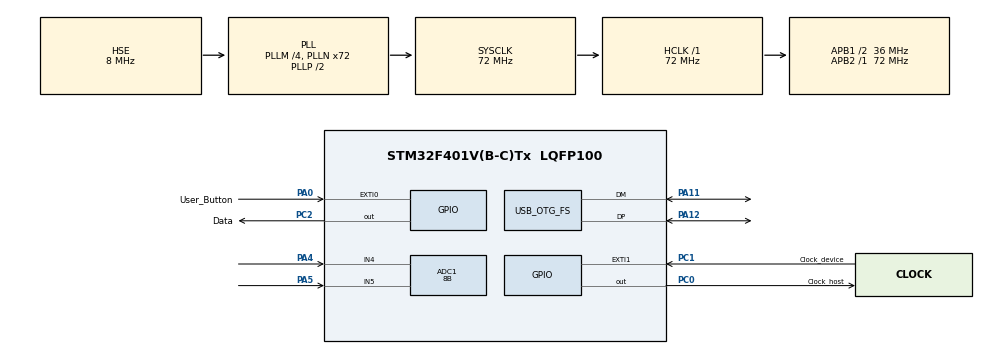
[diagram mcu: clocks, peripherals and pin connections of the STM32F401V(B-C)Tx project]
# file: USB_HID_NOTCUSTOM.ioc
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ADC1.Channel-4\#ChannelRegularConversion=ADC_CHANNEL_4
ADC1.Channel-5\#ChannelRegularConversion=ADC_CHANNEL_5
ADC1.ClockPrescaler=ADC_CLOCK_SYNC_PCLK_DIV8
ADC1.ContinuousConvMode=ENABLE
ADC1.NbrOfConversion=2
ADC1.NbrOfConversionFlag=1
ADC1.Rank-4\#ChannelRegularConversion=1
ADC1.Rank-5\#ChannelRegularConversion=2
ADC1.Resolution=ADC_RESOLUTION_8B
ADC1.SamplingTime-4\#ChannelRegularConversion=ADC_SAMPLETIME_480CYCLES
ADC1.SamplingTime-5\#ChannelRegularConversion=ADC_SAMPLETIME_480CYCLES
ADC1.ScanConvMode=ENABLE
ADC1.master=1
Mcu.Family=STM32F4
Mcu.Name=STM32F401V(B-C)Tx
Mcu.Package=LQFP100
NVIC.ADC_IRQn=true\:0\:0\:false\:false\:true\:true
NVIC.EXTI0_IRQn=true\:0\:0\:false\:false\:true\:true
NVIC.EXTI1_IRQn=true\:0\:0\:false\:false\:true\:true
NVIC.OTG_FS_IRQn=true\:1\:0\:true\:false\:true\:false
NVIC.PriorityGroup=NVIC_PRIORITYGROUP_4
NVIC.TIM1_TRG_COM_TIM11_IRQn=true\:0\:0\:false\:false\:true\:true
NVIC.TIM1_UP_TIM10_IRQn=true\:0\:0\:false\:false\:true\:true
PA0-WKUP.GPIO_Label=User_Button
PA0-WKUP.Signal=GPXTI0
PA11.Mode=Device_Only
PA11.Signal=USB_OTG_FS_DM
PA12.Mode=Device_Only
PA12.Signal=USB_OTG_FS_DP
PA4.Signal=ADCx_IN4
PA5.Signal=ADCx_IN5
PC0.GPIO_Label=Clock_host
PC0.GPIO_ModeDefaultOutputPP=GPIO_MODE_OUTPUT_OD
PC0.GPIO_PuPd=GPIO_PULLUP
PC0.GPIO_Speed=GPIO_SPEED_FREQ_HIGH
PC0.PinState=GPIO_PIN_SET
PC0.Signal=GPIO_Output
PC1.GPIO_Label=Clock_device
PC1.GPIO_ModeDefaultEXTI=GPIO_MODE_IT_RISING_FALLING
PC1.GPIO_PuPd=GPIO_PULLUP
PC1.Signal=GPXTI1
PC2.GPIO_Label=Data
PC2.GPIO_ModeDefaultOutputPP=GPIO_MODE_OUTPUT_OD
PC2.GPIO_PuPd=GPIO_PULLUP
PC2.GPIO_Speed=GPIO_SPEED_FREQ_HIGH
PC2.PinState=GPIO_PIN_SET
PC2.Signal=GPIO_Output
PH0\ -\ OSC_IN.Mode=HSE-External-Oscillator
PH0\ -\ OSC_IN.Signal=RCC_OSC_IN
PH1\ -\ OSC_OUT.Mode=HSE-External-Oscillator
PH1\ -\ OSC_OUT.Signal=RCC_OSC_OUT
ProjectManager.HeapSize=0x200
ProjectManager.StackSize=0x400
ProjectManager.TargetToolchain=SW4STM32
RCC.48MHZClocksFreq_Value=48000000
RCC.AHBFreq_Value=72000000
RCC.APB1CLKDivider=RCC_HCLK_DIV2
RCC.APB1Freq_Value=36000000
RCC.APB1TimFreq_Value=72000000
RCC.APB2Freq_Value=72000000
RCC.APB2TimFreq_Value=72000000
RCC.CortexFreq_Value=72000000
RCC.HCLKFreq_Value=72000000
RCC.HSE_VALUE=8000000
RCC.HSI_VALUE=16000000
RCC.LSE_VALUE=32768
RCC.PLLM=4
RCC.PLLN=72
RCC.PLLQ=3
RCC.SYSCLKFreq_VALUE=72000000
RCC.SYSCLKSource=RCC_SYSCLKSOURCE_PLLCLK
RCC.VCOOutputFreq_Value=144000000
SH.ADCx_IN4.0=ADC1_IN4,IN4
SH.ADCx_IN5.0=ADC1_IN5,IN5
TIM10.Period=99
TIM10.Prescaler=143
TIM11.Period=9999
TIM11.Prescaler=143
USB_DEVICE.CLASS_NAME_FS=HID
USB_DEVICE.VirtualMode=Hid
USB_DEVICE.VirtualModeFS=Hid_FS
USB_OTG_FS.VirtualMode=Device_Only
VP_TIM10_VS_ClockSourceINT.Mode=Enable_Timer
VP_TIM11_VS_ClockSourceINT.Mode=Enable_Timer
VP_USB_DEVICE_VS_USB_DEVICE_HID_FS.Mode=HID_FS
board=USB_HID_NOTCUSTOM

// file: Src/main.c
/**
  ******************************************************************************
  * @file           : main.c
  * @brief          : Main program body
  ******************************************************************************
  * This notice applies to any and all portions of this file
  * that are not between comment pairs USER CODE BEGIN and
  * USER CODE END. Other portions of this file, whether
  * inserted by the user or by software development tools
  * are owned by their respective copyright owners.
  *
  * Copyright (c) 2018 STMicroelectronics International N.V.
  * All rights reserved.
  *
  * Redistribution and use in source and binary forms, with or without
  * modification, are permitted, provided that the following conditions are met:
  *
  * 1. Redistribution of source code must retain the above copyright notice,
  *    this list of conditions and the following disclaimer.
  * 2. Redistributions in binary form must reproduce the above copyright notice,
  *    this list of conditions and the following disclaimer in the documentation
  *    and/or other materials provided with the distribution.
  * 3. Neither the name of STMicroelectronics nor the names of other
  *    contributors to this software may be used to endorse or promote products
  *    derived from this software without specific written permission.
  * 4. This software, including modifications and/or derivative works of this
  *    software, must execute solely and exclusively on microcontroller or
  *    microprocessor devices manufactured by or for STMicroelectronics.
  * 5. Redistribution and use of this software other than as permitted under
  *    this license is void and will automatically terminate your rights under
  *    this license.
  *
  * THIS SOFTWARE IS PROVIDED BY STMICROELECTRONICS AND CONTRIBUTORS "AS IS"
  * AND ANY EXPRESS, IMPLIED OR STATUTORY WARRANTIES, INCLUDING, BUT NOT
  * LIMITED TO, THE IMPLIED WARRANTIES OF MERCHANTABILITY, FITNESS FOR A
  * PARTICULAR PURPOSE AND NON-INFRINGEMENT OF THIRD PARTY INTELLECTUAL PROPERTY
  * RIGHTS ARE DISCLAIMED TO THE FULLEST EXTENT PERMITTED BY LAW. IN NO EVENT
  * SHALL STMICROELECTRONICS OR CONTRIBUTORS BE LIABLE FOR ANY DIRECT, INDIRECT,
  * INCIDENTAL, SPECIAL, EXEMPLARY, OR CONSEQUENTIAL DAMAGES (INCLUDING, BUT NOT
  * LIMITED TO, PROCUREMENT OF SUBSTITUTE GOODS OR SERVICES; LOSS OF USE, DATA,
  * OR PROFITS; OR BUSINESS INTERRUPTION) HOWEVER CAUSED AND ON ANY THEORY OF
  * LIABILITY, WHETHER IN CONTRACT, STRICT LIABILITY, OR TORT (INCLUDING
  * NEGLIGENCE OR OTHERWISE) ARISING IN ANY WAY OUT OF THE USE OF THIS SOFTWARE,
  * EVEN IF ADVISED OF THE POSSIBILITY OF SUCH DAMAGE.
  *
  ******************************************************************************
  */
#include "main.h"
#include "stm32f4xx_hal.h"
#include "usb_device.h"

/* USER CODE BEGIN Includes */
#include <stdbool.h>
/* USER CODE END Includes */

ADC_HandleTypeDef hadc1;

TIM_HandleTypeDef htim10;
TIM_HandleTypeDef htim11;

/* USER CODE BEGIN PV */
/* Private variables ---------------------------------------------------------*/
//typedef int bool;
//enum { false, true };

int bitnumber;

bool Sending = false;
bool Reciving = false;
int LastRecived = 0;
int LastProcessed = 51;
bool Sended = false;
bool StreamMode = false;
bool first = true;
int bytesCount = 3;
int intellimouseState = 0;
uint8_t dataSendPacket;
uint8_t dataRecivedPacket;
bool isSendingWaiting = false;
bool preSendingState = false;
uint8_t Recived = 0;

uint8_t AllRecived[51];
uint8_t AllSended[51];
uint8_t isDataReady;
uint8_t ParityTable[51];
uint32_t start;
uint32_t diff;
uint32_t end;
uint16_t adc[2];
int channel = 0;
uint8_t OutBuffer[10];

/* USER CODE END PV */

void SystemClock_Config(void);
static void MX_GPIO_Init(void);
static void MX_TIM10_Init(void);
static void MX_TIM11_Init(void);
static void MX_ADC1_Init(void);

/* USER CODE BEGIN PFP */
/* Private function prototypes -----------------------------------------------*/
void readBit();
void checkParity();
void HAL_GPIO_EXTI_Callback(uint16_t GPIO_Pin);
void PS2_Handle_Reciving();
void PS2_Handle_Sending();
void setNextDataBit(uint32_t bitnumber);
void setParityBit();
int calculateCount(uint8_t data);
void SendPackage(uint8_t *data);
void Handle_Recived();
int8_t setBit(int i);
uint8_t setButtons();
void HAL_ADC_ConvCpltCallback(ADC_HandleTypeDef* hadc);
void saveKeySettings();
void readDataFromFlash();

struct mouseHID_t {
		  uint8_t reportId;
	      uint8_t buttons;
	      int8_t x;
	      int8_t y;
	      int8_t wheel;
	  };
struct keyboardHID_t{
	 uint8_t report_id;
	    uint8_t modifier;
	    uint8_t reserved;
	    uint8_t keycode[10];
};

struct keycodesHID_t{
	 uint8_t report_id;
	 uint8_t keycode[10];
};

struct keysMapHID_t{
	uint8_t report_id;
	uint8_t keys [10];
};
struct mouseHID_t mouseHID;
struct keyboardHID_t keyboardHID;
struct keysMapHID_t keyMapsHid;

/* USER CODE END PFP */

int main(void)
{
  /* USER CODE BEGIN 1 */

	  bitnumber = 0;

  /* USER CODE END 1 */

  /* MCU Configuration----------------------------------------------------------*/

  /* Reset of all peripherals, Initializes the Flash interface and the Systick. */
  HAL_Init();

  /* Configure the system clock */
  SystemClock_Config();

  /* Initialize all configured peripherals */
  MX_GPIO_Init();
  MX_USB_DEVICE_Init();
  MX_TIM10_Init();
  MX_TIM11_Init();
  MX_ADC1_Init();
  /* USER CODE BEGIN 2 */
  //HAL_GPIO_WritePin(Clock_device_GPIO_Port,Clock_device_Pin,1);
  readDataFromFlash();
  HAL_TIM_Base_Start_IT(&htim11);
  HAL_ADC_Start_IT(&hadc1);
  keyboardHID.report_id = 0x01;
  mouseHID.reportId = 0x02;
  keyMapsHid.report_id = 0x03;
  isDataReady = 0;

  //saveKeySettings();
  /* USER CODE END 2 */

  /* Infinite loop */
  /* USER CODE BEGIN WHILE */
  while (1)
  {

	  if(isDataReady == 1){
		  if(OutBuffer[0] == 0xff){
				USBD_HID_SendReport(&hUsbDeviceFS, &keyMapsHid, sizeof(struct keysMapHID_t));

		  }else{
			  for(int i = 0; i<10; i++){
				  keyMapsHid.keys[i] = OutBuffer[i];
			  }
			  //keyMapsHid.keys = OutBuffer;

			  saveKeySettings();
		  }
		  isDataReady = 0;

	  }

  /* USER CODE END WHILE */

  /* USER CODE BEGIN 3 */

	     //USBD_HID_SendReport(&hUsbDeviceFS, &mouseHID, sizeof(struct mouseHID_t));

  }
  /* USER CODE END 3 */

}

void SystemClock_Config(void)
{

  RCC_OscInitTypeDef RCC_OscInitStruct;
  RCC_ClkInitTypeDef RCC_ClkInitStruct;

    /**Configure the main internal regulator output voltage
    */
  __HAL_RCC_PWR_CLK_ENABLE();

  __HAL_PWR_VOLTAGESCALING_CONFIG(PWR_REGULATOR_VOLTAGE_SCALE2);

    /**Initializes the CPU, AHB and APB busses clocks
    */
  RCC_OscInitStruct.OscillatorType = RCC_OSCILLATORTYPE_HSE;
  RCC_OscInitStruct.HSEState = RCC_HSE_ON;
  RCC_OscInitStruct.PLL.PLLState = RCC_PLL_ON;
  RCC_OscInitStruct.PLL.PLLSource = RCC_PLLSOURCE_HSE;
  RCC_OscInitStruct.PLL.PLLM = 4;
  RCC_OscInitStruct.PLL.PLLN = 72;
  RCC_OscInitStruct.PLL.PLLP = RCC_PLLP_DIV2;
  RCC_OscInitStruct.PLL.PLLQ = 3;
  if (HAL_RCC_OscConfig(&RCC_OscInitStruct) != HAL_OK)
  {
    _Error_Handler(__FILE__, __LINE__);
  }

    /**Initializes the CPU, AHB and APB busses clocks
    */
  RCC_ClkInitStruct.ClockType = RCC_CLOCKTYPE_HCLK|RCC_CLOCKTYPE_SYSCLK
                              |RCC_CLOCKTYPE_PCLK1|RCC_CLOCKTYPE_PCLK2;
  RCC_ClkInitStruct.SYSCLKSource = RCC_SYSCLKSOURCE_PLLCLK;
  RCC_ClkInitStruct.AHBCLKDivider = RCC_SYSCLK_DIV1;
  RCC_ClkInitStruct.APB1CLKDivider = RCC_HCLK_DIV2;
  RCC_ClkInitStruct.APB2CLKDivider = RCC_HCLK_DIV1;

  if (HAL_RCC_ClockConfig(&RCC_ClkInitStruct, FLASH_LATENCY_2) != HAL_OK)
  {
    _Error_Handler(__FILE__, __LINE__);
  }

    /**Configure the Systick interrupt time
    */
  HAL_SYSTICK_Config(HAL_RCC_GetHCLKFreq()/1000);

    /**Configure the Systick
    */
  HAL_SYSTICK_CLKSourceConfig(SYSTICK_CLKSOURCE_HCLK);

  /* SysTick_IRQn interrupt configuration */
  HAL_NVIC_SetPriority(SysTick_IRQn, 0, 0);
}

/* ADC1 init function */
static void MX_ADC1_Init(void)
{

  ADC_ChannelConfTypeDef sConfig;

    /**Configure the global features of the ADC (Clock, Resolution, Data Alignment and number of conversion)
    */
  hadc1.Instance = ADC1;
  hadc1.Init.ClockPrescaler = ADC_CLOCK_SYNC_PCLK_DIV8;
  hadc1.Init.Resolution = ADC_RESOLUTION_8B;
  hadc1.Init.ScanConvMode = ENABLE;
  hadc1.Init.ContinuousConvMode = ENABLE;
  hadc1.Init.DiscontinuousConvMode = DISABLE;
  hadc1.Init.ExternalTrigConvEdge = ADC_EXTERNALTRIGCONVEDGE_NONE;
  hadc1.Init.ExternalTrigConv = ADC_SOFTWARE_START;
  hadc1.Init.DataAlign = ADC_DATAALIGN_RIGHT;
  hadc1.Init.NbrOfConversion = 2;
  hadc1.Init.DMAContinuousRequests = DISABLE;
  hadc1.Init.EOCSelection = ADC_EOC_SINGLE_CONV;
  if (HAL_ADC_Init(&hadc1) != HAL_OK)
  {
    _Error_Handler(__FILE__, __LINE__);
  }

    /**Configure for the selected ADC regular channel its corresponding rank in the sequencer and its sample time.
    */
  sConfig.Channel = ADC_CHANNEL_4;
  sConfig.Rank = 1;
  sConfig.SamplingTime = ADC_SAMPLETIME_480CYCLES;
  if (HAL_ADC_ConfigChannel(&hadc1, &sConfig) != HAL_OK)
  {
    _Error_Handler(__FILE__, __LINE__);
  }

    /**Configure for the selected ADC regular channel its corresponding rank in the sequencer and its sample time.
    */
  sConfig.Channel = ADC_CHANNEL_5;
  sConfig.Rank = 2;
  if (HAL_ADC_ConfigChannel(&hadc1, &sConfig) != HAL_OK)
  {
    _Error_Handler(__FILE__, __LINE__);
  }

}

/* TIM10 init function */
static void MX_TIM10_Init(void)
{

  htim10.Instance = TIM10;
  htim10.Init.Prescaler = 143;
  htim10.Init.CounterMode = TIM_COUNTERMODE_UP;
  htim10.Init.Period = 99;
  htim10.Init.ClockDivision = TIM_CLOCKDIVISION_DIV1;
  if (HAL_TIM_Base_Init(&htim10) != HAL_OK)
  {
    _Error_Handler(__FILE__, __LINE__);
  }

}

/* TIM11 init function */
static void MX_TIM11_Init(void)
{

  htim11.Instance = TIM11;
  htim11.Init.Prescaler = 143;
  htim11.Init.CounterMode = TIM_COUNTERMODE_UP;
  htim11.Init.Period = 9999;
  htim11.Init.ClockDivision = TIM_CLOCKDIVISION_DIV1;
  if (HAL_TIM_Base_Init(&htim11) != HAL_OK)
  {
    _Error_Handler(__FILE__, __LINE__);
  }

}

/** Configure pins as
        * Analog
        * Input
        * Output
        * EVENT_OUT
        * EXTI
*/
static void MX_GPIO_Init(void)
{

  GPIO_InitTypeDef GPIO_InitStruct;

  /* GPIO Ports Clock Enable */
  __HAL_RCC_GPIOH_CLK_ENABLE();
  __HAL_RCC_GPIOC_CLK_ENABLE();
  __HAL_RCC_GPIOA_CLK_ENABLE();

  /*Configure GPIO pin Output Level */
  HAL_GPIO_WritePin(GPIOC, Clock_host_Pin|Data_Pin, GPIO_PIN_SET);

  /*Configure GPIO pins : Clock_host_Pin Data_Pin */
  GPIO_InitStruct.Pin = Clock_host_Pin|Data_Pin;
  GPIO_InitStruct.Mode = GPIO_MODE_OUTPUT_OD;
  GPIO_InitStruct.Pull = GPIO_PULLUP;
  GPIO_InitStruct.Speed = GPIO_SPEED_FREQ_HIGH;
  HAL_GPIO_Init(GPIOC, &GPIO_InitStruct);

  /*Configure GPIO pin : Clock_device_Pin */
  GPIO_InitStruct.Pin = Clock_device_Pin;
  GPIO_InitStruct.Mode = GPIO_MODE_IT_RISING_FALLING;
  GPIO_InitStruct.Pull = GPIO_PULLUP;
  HAL_GPIO_Init(Clock_device_GPIO_Port, &GPIO_InitStruct);

  /*Configure GPIO pin : User_Button_Pin */
  GPIO_InitStruct.Pin = User_Button_Pin;
  GPIO_InitStruct.Mode = GPIO_MODE_IT_RISING_FALLING;
  GPIO_InitStruct.Pull = GPIO_NOPULL;
  HAL_GPIO_Init(User_Button_GPIO_Port, &GPIO_InitStruct);

  /* EXTI interrupt init*/
  HAL_NVIC_SetPriority(EXTI0_IRQn, 0, 0);
  HAL_NVIC_EnableIRQ(EXTI0_IRQn);

  HAL_NVIC_SetPriority(EXTI1_IRQn, 0, 0);
  HAL_NVIC_EnableIRQ(EXTI1_IRQn);

}

/* USER CODE BEGIN 4 */
void saveKeySettings(){

	HAL_FLASH_Unlock();
	static FLASH_EraseInitTypeDef EraseInitStruct;
	EraseInitStruct.TypeErase = FLASH_TYPEERASE_SECTORS;
	EraseInitStruct.Sector = FLASH_SECTOR_2;
	EraseInitStruct.NbSectors = 1;
	EraseInitStruct.VoltageRange = FLASH_VOLTAGE_RANGE_2;
	static uint32_t SectorError;
	HAL_FLASHEx_Erase(&EraseInitStruct, &SectorError);
	uint32_t startaddres = 0x08008000;
	uint32_t endaddres = 0x0800800A;
	int i = 0;
	while(startaddres<endaddres){
		if(HAL_FLASH_Program(FLASH_TYPEPROGRAM_BYTE,startaddres,OutBuffer[i])==HAL_OK){
			startaddres += 1;
			i +=1;

		}
	}
	HAL_FLASH_Lock();

}

void readDataFromFlash(){

	uint32_t startaddress = 0x08008000;
		uint32_t endaddress = 0x0800800A;
		int i = 0;
		while(startaddress<endaddress){
			keyMapsHid.keys[i] = *(__IO uint8_t *)startaddress;
				startaddress += 1;
				i +=1;

		}

}

void HAL_ADC_ConvCpltCallback(ADC_HandleTypeDef* hadc){
	if(hadc == &hadc1){

		adc[channel] = HAL_ADC_GetValue(&hadc1);
		channel++;
		if(channel == 2) channel = 0;

	}
}

void HAL_GPIO_EXTI_Callback(uint16_t GPIO_Pin) {
	if (GPIO_Pin == Clock_device_Pin && preSendingState == false) {
		if (HAL_GPIO_ReadPin(Clock_device_GPIO_Port, Clock_device_Pin)
				== GPIO_PIN_RESET && Sending == false) {

			PS2_Handle_Reciving();

		} else if(HAL_GPIO_ReadPin(Clock_device_GPIO_Port, Clock_device_Pin)
				== GPIO_PIN_RESET && Sending == true){
			PS2_Handle_Sending();

		}
}else if(GPIO_Pin == User_Button_Pin){
		if(HAL_GPIO_ReadPin(User_Button_GPIO_Port, User_Button_Pin) == GPIO_PIN_SET){
			keyboardHID.keycode[0] = 0x04;
			USBD_HID_SendReport(&hUsbDeviceFS, &keyboardHID, sizeof(struct keyboardHID_t));
		}else{
			keyboardHID.keycode[0] = 0x00;
			USBD_HID_SendReport(&hUsbDeviceFS, &keyboardHID, sizeof(struct keyboardHID_t));
		}

	}
}

void HAL_TIM_PeriodElapsedCallback(TIM_HandleTypeDef *htim){
	if (htim == &htim10){

		HAL_TIM_Base_Stop_IT(&htim10);
		//end = HAL_GetTick();
		//diff = end - start;
		HAL_GPIO_WritePin(Data_GPIO_Port,Data_Pin,GPIO_PIN_RESET);
		HAL_GPIO_WritePin(Clock_host_GPIO_Port,Clock_host_Pin,GPIO_PIN_SET);
		preSendingState = false;
		Sending = true;

	}else if(htim == &htim11) {
		if(first == true){
			uint8_t toSend =0xFF;
			SendPackage(&toSend);
			first = false;
		}else if(StreamMode == false && Sending == false && Reciving == false){
				  uint8_t toSend;
				  if(Recived){
					  Handle_Recived();
				  }
				  else if(intellimouseState >8){
					  toSend = 0xF4;
					  SendPackage(&toSend);

				  }else{
					  switch(intellimouseState++){
					  case 1: toSend = 0xC8;
						  break;
					  case 3: toSend = 0x64;
						  break;
					  case 5: toSend = 0x50;
						  break;
					  case 6: toSend = 0xE8;
					  		break;
					  case 7: toSend = 0x03;
					  		break;
					  case 8: toSend = 0xE7;
					  		break;
					  default: toSend = 0xF3;
						  break;
					  }
					  SendPackage(&toSend);
				  }
			  }
	}
}

void Handle_Recived(){
	int process;
	 if(LastProcessed >= 50){
		process = 0;
		LastProcessed = 0;
	}else{
		process = LastProcessed++;
	}
	switch(AllRecived[process-1]){
	case 0xFA:if(dataSendPacket == 0xF4){
			StreamMode = true;
			HAL_TIM_Base_Stop_IT(&htim11);
			}
		break;
	case 0xAA:
		break;
	case 0x00:
		break;
	case 0xFE: SendPackage(&dataSendPacket);
		break;
	case 0xFC: SendPackage(&dataSendPacket);
		break;
	case 0x03:bytesCount = 4;
		break;
	case 0x04:bytesCount = 4;
		break;

	}
	if(process == LastRecived){
		Recived = false;
	}

}

void PS2_Handle_Sending() {
	if (Reciving == true) {
		bitnumber = 0;
		Reciving = false;
	}else{
		++bitnumber;
		switch(bitnumber){
		case 9:
			setParityBit();
			break;
		case 10:
			HAL_GPIO_WritePin(Data_GPIO_Port,Data_Pin,GPIO_PIN_SET);
			break;
		case 11:
			Sending = false;
			bitnumber = 0;
			break;
		default:
			setNextDataBit(bitnumber);
			break;
		}

	}

}

void setNextDataBit(uint32_t bitnumber){
	uint8_t k = 1;
	if (dataSendPacket & (k << (bitnumber - 1))) {
		HAL_GPIO_WritePin(Data_GPIO_Port,Data_Pin,GPIO_PIN_SET);
	}else{
		HAL_GPIO_WritePin(Data_GPIO_Port,Data_Pin,GPIO_PIN_RESET);
	}

}

void setParityBit(){
	int count = calculateCount(dataSendPacket);
	if (count%2 == 0){
		HAL_GPIO_WritePin(Data_GPIO_Port,Data_Pin,GPIO_PIN_SET);
	}else{
		HAL_GPIO_WritePin(Data_GPIO_Port,Data_Pin,GPIO_PIN_RESET);
	}
}

void SendPackage(uint8_t *data){
	AllSended[LastRecived]= *data;
	dataSendPacket=*data;
	if(Reciving == true && bitnumber>9){
		isSendingWaiting = true;
	}else{
		preSendingState = true;
		HAL_GPIO_WritePin(Clock_host_GPIO_Port,Clock_host_Pin,GPIO_PIN_RESET);
		HAL_TIM_Base_Start_IT(&htim10);
		start = HAL_GetTick();
	}

}

void PS2_Handle_Reciving() {
	if (bitnumber == 0) {
		dataRecivedPacket = 0;
		Reciving = true;
		bitnumber++;

	} else if (bitnumber < 9 && Reciving == true) {
		readBit();
		bitnumber++;
	} else if (bitnumber == 9) {
		checkParity();
		bitnumber++;
	} else {
		Reciving = false;
		bitnumber = 0;

			if(LastRecived == 50 || (LastRecived >= 3 && StreamMode == true)){
						LastRecived = 0;
			}else{
				++LastRecived;
			}
			Recived = true;

		if(isSendingWaiting == true){
			SendPackage(&dataSendPacket);
		}
	}
}

void checkParity() {
	unsigned int x = HAL_GPIO_ReadPin(Data_GPIO_Port, Data_Pin);
	int count = calculateCount(dataRecivedPacket);

	if ((count + x)%2 == 1 && (StreamMode == true && LastRecived == 3)) {

			  mouseHID.buttons = setButtons();
			  mouseHID.x = setBit(1);
			  mouseHID.y = -setBit(2);
			  mouseHID.wheel = setBit(3);
		USBD_HID_SendReport(&hUsbDeviceFS, &mouseHID, sizeof(struct mouseHID_t));
	}

}

int8_t setBit(int i){
	return AllRecived[i];
}

uint8_t setButtons(){
	uint8_t toSend;
	toSend = AllRecived[0];
	toSend = toSend<<5;

	return  toSend>>5;

}

int calculateCount(uint8_t data){
	int count = 0, i, b = 1;

		for (i = 0; i < 8; i++) {
			if (data & (b << i)) {
				count++;
			}
		}
	return count;
}

void readBit() {
	unsigned int x = HAL_GPIO_ReadPin(Data_GPIO_Port, Data_Pin);
	dataRecivedPacket = dataRecivedPacket + ((x%2)<<(bitnumber-1));

	if(LastRecived == 50 || (LastRecived == 3 && StreamMode == true)){
		AllRecived[0]=dataRecivedPacket;
	}else{
		AllRecived[LastRecived+1]=dataRecivedPacket;
	}

}
/* USER CODE END 4 */

void _Error_Handler(char *file, int line)
{
  while(1)
  {
  }
}

/************************ (C) COPYRIGHT STMicroelectronics *****END OF FILE****/
